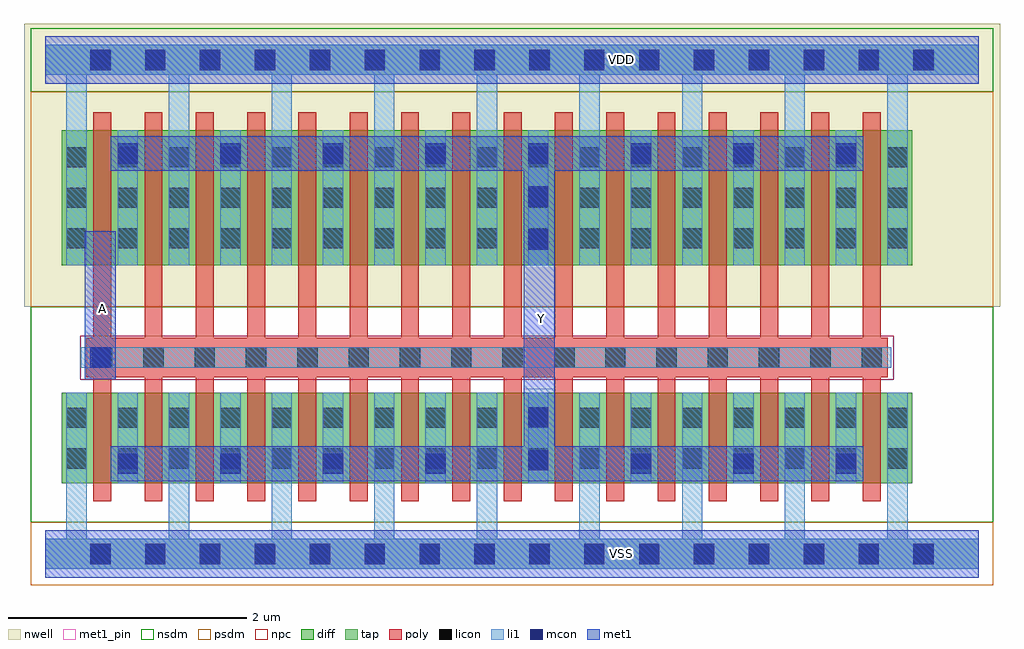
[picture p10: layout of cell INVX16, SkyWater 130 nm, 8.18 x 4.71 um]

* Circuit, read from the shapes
.subckt INVX16 A VDD VSS Y
XM1 Y A VSS VSS sky130_fd_pr__nfet_01v8 w=0.76 l=0.15 m=16
XM2 Y A VDD VDD sky130_fd_pr__pfet_01v8 w=1.13 l=0.15 m=16
.ends

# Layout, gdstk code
import gdstk
lib = gdstk.Library(unit=1e-6, precision=1e-09)
def R(c, l, rs):  # rectangles x0, y0, x1, y1
    for r in rs: c.add(gdstk.rectangle(r[:2], r[2:], *l))
def A(c, l, x, y, w, h, nx, ny, dx, dy):  # array of equal rectangles
    R(c, l, [(x+i*dx, y+j*dy, x+i*dx+w, y+j*dy+h) for i in range(nx) for j in range(ny)])
nwell = (64, 20)
diff = (65, 20)
tap = (65, 44)
poly = (66, 20)
licon = (66, 44)
li1 = (67, 20)
mcon = (67, 44)
met1_pin = (68, 16)
met1 = (68, 20)
nsdm = (93, 44)
psdm = (94, 20)
npc = (95, 20)

pyl1con_c_cdns_750710154 = lib.new_cell('PYL1CON_C_CDNS_750710154092')
R(pyl1con_c_cdns_750710154, poly, [(-0.135,-0.165,0.135,0.165)])
R(pyl1con_c_cdns_750710154, licon, [(-0.085,-0.085,0.085,0.085)])
R(pyl1con_c_cdns_750710154, npc, [(-0.185,-0.185,0.185,0.185)])

l1m1_c_cdns_750710154090 = lib.new_cell('L1M1_C_CDNS_750710154090')
R(l1m1_c_cdns_750710154090, li1, [(-0.165,-0.085,0.165,0.085)])
R(l1m1_c_cdns_750710154090, mcon, [(-0.085,-0.085,0.085,0.085)])
R(l1m1_c_cdns_750710154090, met1, [(-0.115,-0.145,0.115,0.145)])

l1m1_c_cdns_750710154091 = lib.new_cell('L1M1_C_CDNS_750710154091')
R(l1m1_c_cdns_750710154091, li1, [(-0.085,-0.165,0.085,0.165)])
R(l1m1_c_cdns_750710154091, mcon, [(-0.085,-0.085,0.085,0.085)])
R(l1m1_c_cdns_750710154091, met1, [(-0.115,-0.145,0.115,0.145)])

l1m1_c_cdns_750710154098 = lib.new_cell('L1M1_C_CDNS_750710154098')
R(l1m1_c_cdns_750710154098, li1, [(-0.085,-0.525,0.085,0.525)])
A(l1m1_c_cdns_750710154098, mcon, -0.085, -0.445, 0.17, 0.17, 1, 3, 0, 0.36)
R(l1m1_c_cdns_750710154098, met1, [(-0.115,-0.505,0.115,0.505)])

l1m1_c_cdns_750710154094 = lib.new_cell('L1M1_C_CDNS_750710154094')
R(l1m1_c_cdns_750710154094, li1, [(-0.085,-0.345,0.085,0.345)])
R(l1m1_c_cdns_750710154094, mcon, [(-0.085,-0.265,0.085,-0.095), (-0.085,0.095,0.085,0.265)])
R(l1m1_c_cdns_750710154094, met1, [(-0.115,-0.325,0.115,0.325)])

invx16 = lib.new_cell('INVX16')
R(invx16, nwell, [(-0.18,2.07,8,4.305), (-0.045,2.24,7.445,3.73), (-0.18,3.875,8,4.445)])
A(invx16, diff, 0.4, 0.59, 0.15, 0.76, 16, 1, 0.43, 0)
A(invx16, diff, 0.55, 0.59, 0.28, 0.76, 15, 1, 0.43, 0)
A(invx16, diff, 0.4, 2.42, 0.15, 1.13, 16, 1, 0.43, 0)
A(invx16, diff, 0.55, 2.42, 0.28, 1.13, 15, 1, 0.43, 0)
R(invx16, diff, [(0.135,0.59,0.4,1.35), (7,0.59,7.265,1.35), (0.135,2.42,0.4,3.55), (7,2.42,7.265,3.55)])
A(invx16, poly, 0.4, 0.44, 0.15, 0.055, 16, 2, 0.43, 1.005)
A(invx16, poly, 0.4, 0.495, 0.15, 0.095, 16, 2, 0.43, 0.855)
A(invx16, poly, 0.4, 0.59, 0.15, 0.76, 16, 1, 0.43, 0)
A(invx16, poly, 0.4, 2.27, 0.15, 0.055, 16, 2, 0.43, 1.375)
A(invx16, poly, 0.4, 2.325, 0.15, 0.095, 16, 2, 0.43, 1.225)
A(invx16, poly, 0.4, 2.42, 0.15, 1.13, 16, 1, 0.43, 0)
A(invx16, licon, 0.375, -0.085, 0.17, 0.17, 16, 2, 0.46, 4.14)
A(invx16, licon, 0.175, 0.715, 0.17, 0.17, 17, 2, 0.43, 0.34)
A(invx16, licon, 0.175, 2.56, 0.17, 0.17, 17, 3, 0.43, 0.34)
A(invx16, li1, 0.175, 0.59, 0.17, 0.76, 17, 1, 0.43, 0)
A(invx16, li1, 0.175, 2.42, 0.17, 1.13, 17, 1, 0.43, 0)
A(invx16, mcon, 0.375, -0.085, 0.17, 0.17, 16, 2, 0.46, 4.14)
R(invx16, met1_pin, [(4.01,1.38,4.27,2.62), (0.33,1.465,0.59,2.705)])
R(invx16, nsdm, [(-0.125,0.265,7.945,2.07), (-0.005,0.46,7.405,1.48), (-0.125,3.875,7.945,4.405), (-0.125,3.93,7.945,4.35)])
R(invx16, psdm, [(-0.125,-0.265,7.945,0.265), (-0.125,-0.21,7.945,0.21), (-0.125,2.07,7.945,3.875), (-0.005,2.29,7.405,3.68)])
R(invx16, npc, [(0.29,1.46,7.11,1.83)])
invx16.add(gdstk.FlexPath([(1.765,2.27),(1.765,1.5)], 0.15, ends="flush", simple_path=True, layer=66, datatype=20))  # poly
invx16.add(gdstk.FlexPath([(1.335,2.27),(1.335,1.5)], 0.15, ends="flush", simple_path=True, layer=66, datatype=20))  # poly
invx16.add(gdstk.FlexPath([(0.905,2.27),(0.905,1.5)], 0.15, ends="flush", simple_path=True, layer=66, datatype=20))  # poly
invx16.add(gdstk.FlexPath([(0.475,2.27),(0.475,1.5)], 0.15, ends="flush", simple_path=True, layer=66, datatype=20))  # poly
invx16.add(gdstk.FlexPath([(2.195,2.27),(2.195,1.5)], 0.15, ends="flush", simple_path=True, layer=66, datatype=20))  # poly
invx16.add(gdstk.FlexPath([(2.625,2.27),(2.625,1.5)], 0.15, ends="flush", simple_path=True, layer=66, datatype=20))  # poly
invx16.add(gdstk.FlexPath([(3.485,2.27),(3.485,1.5)], 0.15, ends="flush", simple_path=True, layer=66, datatype=20))  # poly
invx16.add(gdstk.FlexPath([(4.345,2.27),(4.345,1.5)], 0.15, ends="flush", simple_path=True, layer=66, datatype=20))  # poly
invx16.add(gdstk.FlexPath([(5.205,2.27),(5.205,1.5)], 0.15, ends="flush", simple_path=True, layer=66, datatype=20))  # poly
invx16.add(gdstk.FlexPath([(6.065,2.27),(6.065,1.5)], 0.15, ends="flush", simple_path=True, layer=66, datatype=20))  # poly
invx16.add(gdstk.FlexPath([(6.925,2.27),(6.925,1.5)], 0.15, ends="flush", simple_path=True, layer=66, datatype=20))  # poly
invx16.add(gdstk.FlexPath([(0.475,1.645),(7.06,1.645)], 0.33, ends="flush", simple_path=True, layer=66, datatype=20))  # poly
invx16.add(gdstk.FlexPath([(3.055,2.27),(3.055,1.5)], 0.15, ends="flush", simple_path=True, layer=66, datatype=20))  # poly
invx16.add(gdstk.FlexPath([(3.915,2.27),(3.915,1.5)], 0.15, ends="flush", simple_path=True, layer=66, datatype=20))  # poly
invx16.add(gdstk.FlexPath([(4.775,2.27),(4.775,1.5)], 0.15, ends="flush", simple_path=True, layer=66, datatype=20))  # poly
invx16.add(gdstk.FlexPath([(5.635,2.27),(5.635,1.5)], 0.15, ends="flush", simple_path=True, layer=66, datatype=20))  # poly
invx16.add(gdstk.FlexPath([(6.495,2.27),(6.495,1.5)], 0.15, ends="flush", simple_path=True, layer=66, datatype=20))  # poly
invx16.add(gdstk.FlexPath([(7.14,4.14),(7.82,4.14)], 0.25, ends=(0.085, 0), simple_path=True, layer=67, datatype=20))  # li1
invx16.add(gdstk.FlexPath([(6.28,4.14),(7.14,4.14)], 0.25, ends=(0.085, 0.085), simple_path=True, layer=67, datatype=20))  # li1
invx16.add(gdstk.FlexPath([(5.42,4.14),(6.28,4.14)], 0.25, ends=(0.085, 0.085), simple_path=True, layer=67, datatype=20))  # li1
invx16.add(gdstk.FlexPath([(4.56,4.14),(5.42,4.14)], 0.25, ends=(0.085, 0.085), simple_path=True, layer=67, datatype=20))  # li1
invx16.add(gdstk.FlexPath([(3.7,4.14),(4.56,4.14)], 0.25, ends=(0.085, 0.085), simple_path=True, layer=67, datatype=20))  # li1
invx16.add(gdstk.FlexPath([(2.84,4.14),(3.7,4.14)], 0.25, ends=(0.085, 0.085), simple_path=True, layer=67, datatype=20))  # li1
invx16.add(gdstk.FlexPath([(1.98,4.14),(2.84,4.14)], 0.25, ends=(0.085, 0.085), simple_path=True, layer=67, datatype=20))  # li1
invx16.add(gdstk.FlexPath([(1.12,4.14),(1.98,4.14)], 0.25, ends=(0.085, 0.085), simple_path=True, layer=67, datatype=20))  # li1
invx16.add(gdstk.FlexPath([(0.26,4.14),(1.12,4.14)], 0.25, ends=(0.085, 0.085), simple_path=True, layer=67, datatype=20))  # li1
invx16.add(gdstk.FlexPath([(7.14,0),(7.82,0)], 0.25, ends=(0.085, 0), simple_path=True, layer=67, datatype=20))  # li1
invx16.add(gdstk.FlexPath([(6.28,0),(7.14,0)], 0.25, ends=(0.085, 0.085), simple_path=True, layer=67, datatype=20))  # li1
invx16.add(gdstk.FlexPath([(5.42,0),(6.28,0)], 0.25, ends=(0.085, 0.085), simple_path=True, layer=67, datatype=20))  # li1
invx16.add(gdstk.FlexPath([(4.56,0),(5.42,0)], 0.25, ends=(0.085, 0.085), simple_path=True, layer=67, datatype=20))  # li1
invx16.add(gdstk.FlexPath([(3.7,0),(4.56,0)], 0.25, ends=(0.085, 0.085), simple_path=True, layer=67, datatype=20))  # li1
invx16.add(gdstk.FlexPath([(2.84,0),(3.7,0)], 0.25, ends=(0.085, 0.085), simple_path=True, layer=67, datatype=20))  # li1
invx16.add(gdstk.FlexPath([(1.98,0),(2.84,0)], 0.25, ends=(0.085, 0.085), simple_path=True, layer=67, datatype=20))  # li1
invx16.add(gdstk.FlexPath([(1.12,0),(1.98,0)], 0.25, ends=(0.085, 0.085), simple_path=True, layer=67, datatype=20))  # li1
invx16.add(gdstk.FlexPath([(0,0),(0.26,0)], 0.25, ends=(0, 0.085), simple_path=True, layer=67, datatype=20))  # li1
invx16.add(gdstk.FlexPath([(0,4.14),(0.26,4.14)], 0.25, ends=(0, 0.085), simple_path=True, layer=67, datatype=20))  # li1
invx16.add(gdstk.FlexPath([(0.26,0),(1.12,0)], 0.25, ends=(0.085, 0.085), simple_path=True, layer=67, datatype=20))  # li1
invx16.add(gdstk.FlexPath([(7.09,1.645),(0.31,1.645)], 0.17, ends="flush", simple_path=True, layer=67, datatype=20))  # li1
invx16.add(gdstk.FlexPath([(0.69,1.17),(0.69,1.285)], 0.17, ends="flush", simple_path=True, layer=67, datatype=20))  # li1
invx16.add(gdstk.FlexPath([(0.69,2.76),(0.69,2.645)], 0.17, ends="flush", simple_path=True, layer=67, datatype=20))  # li1
invx16.add(gdstk.FlexPath([(7.14,0),(7.095,0)], 0.17, ends=(0.085, 0), simple_path=True, layer=67, datatype=20))  # li1
invx16.add(gdstk.FlexPath([(7.14,0.59),(7.14,0)], 0.17, ends=(0, 0.125), simple_path=True, layer=67, datatype=20))  # li1
invx16.add(gdstk.FlexPath([(6.28,0),(6.235,0)], 0.17, ends=(0.085, 0), simple_path=True, layer=67, datatype=20))  # li1
invx16.add(gdstk.FlexPath([(6.28,0.59),(6.28,0)], 0.17, ends=(0, 0.125), simple_path=True, layer=67, datatype=20))  # li1
invx16.add(gdstk.FlexPath([(5.42,0),(5.375,0)], 0.17, ends=(0.085, 0), simple_path=True, layer=67, datatype=20))  # li1
invx16.add(gdstk.FlexPath([(5.42,0.59),(5.42,0)], 0.17, ends=(0, 0.125), simple_path=True, layer=67, datatype=20))  # li1
invx16.add(gdstk.FlexPath([(4.56,0),(4.515,0)], 0.17, ends=(0.085, 0), simple_path=True, layer=67, datatype=20))  # li1
invx16.add(gdstk.FlexPath([(4.56,0.59),(4.56,0)], 0.17, ends=(0, 0.125), simple_path=True, layer=67, datatype=20))  # li1
invx16.add(gdstk.FlexPath([(3.7,0),(3.655,0)], 0.17, ends=(0.085, 0), simple_path=True, layer=67, datatype=20))  # li1
invx16.add(gdstk.FlexPath([(3.7,0.59),(3.7,0)], 0.17, ends=(0, 0.125), simple_path=True, layer=67, datatype=20))  # li1
invx16.add(gdstk.FlexPath([(2.84,0),(2.795,0)], 0.17, ends=(0.085, 0), simple_path=True, layer=67, datatype=20))  # li1
invx16.add(gdstk.FlexPath([(2.84,0.59),(2.84,0)], 0.17, ends=(0, 0.125), simple_path=True, layer=67, datatype=20))  # li1
invx16.add(gdstk.FlexPath([(1.98,0),(1.935,0)], 0.17, ends=(0.085, 0), simple_path=True, layer=67, datatype=20))  # li1
invx16.add(gdstk.FlexPath([(1.98,0.59),(1.98,0)], 0.17, ends=(0, 0.125), simple_path=True, layer=67, datatype=20))  # li1
invx16.add(gdstk.FlexPath([(1.12,0),(1.075,0)], 0.17, ends=(0.085, 0), simple_path=True, layer=67, datatype=20))  # li1
invx16.add(gdstk.FlexPath([(1.12,0.59),(1.12,0)], 0.17, ends=(0, 0.125), simple_path=True, layer=67, datatype=20))  # li1
invx16.add(gdstk.FlexPath([(0.26,0),(0.215,0)], 0.17, ends=(0.085, 0), simple_path=True, layer=67, datatype=20))  # li1
invx16.add(gdstk.FlexPath([(0.26,0.59),(0.26,0)], 0.17, ends=(0, 0.125), simple_path=True, layer=67, datatype=20))  # li1
invx16.add(gdstk.FlexPath([(7.14,4.14),(7.095,4.14)], 0.17, ends=(0.085, 0), simple_path=True, layer=67, datatype=20))  # li1
invx16.add(gdstk.FlexPath([(7.14,3.55),(7.14,4.14)], 0.17, ends=(0, 0.125), simple_path=True, layer=67, datatype=20))  # li1
invx16.add(gdstk.FlexPath([(6.28,4.14),(6.235,4.14)], 0.17, ends=(0.085, 0), simple_path=True, layer=67, datatype=20))  # li1
invx16.add(gdstk.FlexPath([(6.28,3.55),(6.28,4.14)], 0.17, ends=(0, 0.125), simple_path=True, layer=67, datatype=20))  # li1
invx16.add(gdstk.FlexPath([(5.42,4.14),(5.375,4.14)], 0.17, ends=(0.085, 0), simple_path=True, layer=67, datatype=20))  # li1
invx16.add(gdstk.FlexPath([(5.42,3.55),(5.42,4.14)], 0.17, ends=(0, 0.125), simple_path=True, layer=67, datatype=20))  # li1
invx16.add(gdstk.FlexPath([(4.56,4.14),(4.515,4.14)], 0.17, ends=(0.085, 0), simple_path=True, layer=67, datatype=20))  # li1
invx16.add(gdstk.FlexPath([(4.56,3.55),(4.56,4.14)], 0.17, ends=(0, 0.125), simple_path=True, layer=67, datatype=20))  # li1
invx16.add(gdstk.FlexPath([(3.7,4.14),(3.655,4.14)], 0.17, ends=(0.085, 0), simple_path=True, layer=67, datatype=20))  # li1
invx16.add(gdstk.FlexPath([(3.7,3.55),(3.7,4.14)], 0.17, ends=(0, 0.125), simple_path=True, layer=67, datatype=20))  # li1
invx16.add(gdstk.FlexPath([(2.84,4.14),(2.795,4.14)], 0.17, ends=(0.085, 0), simple_path=True, layer=67, datatype=20))  # li1
invx16.add(gdstk.FlexPath([(2.84,3.55),(2.84,4.14)], 0.17, ends=(0, 0.125), simple_path=True, layer=67, datatype=20))  # li1
invx16.add(gdstk.FlexPath([(1.98,4.14),(1.935,4.14)], 0.17, ends=(0.085, 0), simple_path=True, layer=67, datatype=20))  # li1
invx16.add(gdstk.FlexPath([(1.98,3.55),(1.98,4.14)], 0.17, ends=(0, 0.125), simple_path=True, layer=67, datatype=20))  # li1
invx16.add(gdstk.FlexPath([(1.12,4.14),(1.075,4.14)], 0.17, ends=(0.085, 0), simple_path=True, layer=67, datatype=20))  # li1
invx16.add(gdstk.FlexPath([(1.12,3.55),(1.12,4.14)], 0.17, ends=(0, 0.125), simple_path=True, layer=67, datatype=20))  # li1
invx16.add(gdstk.FlexPath([(0.26,4.14),(0.215,4.14)], 0.17, ends=(0.085, 0), simple_path=True, layer=67, datatype=20))  # li1
invx16.add(gdstk.FlexPath([(0.26,3.55),(0.26,4.14)], 0.17, ends=(0, 0.125), simple_path=True, layer=67, datatype=20))  # li1
invx16.add(gdstk.FlexPath([(0,0),(7.82,0)], 0.25, ends="flush", simple_path=True, layer=65, datatype=44))  # tap
invx16.add(gdstk.FlexPath([(0,4.14),(7.82,4.14)], 0.25, ends="flush", simple_path=True, layer=65, datatype=44))  # tap
invx16.add(gdstk.FlexPath([(0,4.14),(7.82,4.14)], 0.4, ends="flush", simple_path=True, layer=68, datatype=20))  # met1
invx16.add(gdstk.FlexPath([(0.69,3.355),(1.55,3.355)], 0.29, ends="extended", simple_path=True, layer=68, datatype=20))  # met1
invx16.add(gdstk.FlexPath([(0.575,0.755),(0.69,0.755)], 0.29, ends=(0, 0.145), simple_path=True, layer=68, datatype=20))  # met1
invx16.add(gdstk.FlexPath([(4.13,0.755),(4.99,0.755)], 0.29, ends="extended", simple_path=True, layer=68, datatype=20))  # met1
invx16.add(gdstk.FlexPath([(6.71,0.755),(6.825,0.755)], 0.29, ends=(0.145, 0), simple_path=True, layer=68, datatype=20))  # met1
invx16.add(gdstk.FlexPath([(5.85,0.755),(6.71,0.755)], 0.29, ends="extended", simple_path=True, layer=68, datatype=20))  # met1
invx16.add(gdstk.FlexPath([(6.71,3.355),(6.825,3.355)], 0.29, ends=(0.145, 0), simple_path=True, layer=68, datatype=20))  # met1
invx16.add(gdstk.FlexPath([(5.85,3.355),(6.71,3.355)], 0.29, ends="extended", simple_path=True, layer=68, datatype=20))  # met1
invx16.add(gdstk.FlexPath([(4.99,3.355),(5.85,3.355)], 0.29, ends="extended", simple_path=True, layer=68, datatype=20))  # met1
invx16.add(gdstk.FlexPath([(4.13,3.355),(4.99,3.355)], 0.29, ends="extended", simple_path=True, layer=68, datatype=20))  # met1
invx16.add(gdstk.FlexPath([(0.46,1.465),(0.46,2.705)], 0.26, ends="flush", simple_path=True, layer=68, datatype=20))  # met1
invx16.add(gdstk.FlexPath([(0,0),(7.82,0)], 0.4, ends="flush", simple_path=True, layer=68, datatype=20))  # met1
invx16.add(gdstk.FlexPath([(3.27,3.355),(4.13,3.355)], 0.29, ends="extended", simple_path=True, layer=68, datatype=20))  # met1
invx16.add(gdstk.FlexPath([(3.27,0.755),(4.13,0.755)], 0.29, ends="extended", simple_path=True, layer=68, datatype=20))  # met1
invx16.add(gdstk.FlexPath([(4.99,0.755),(5.85,0.755)], 0.29, ends="extended", simple_path=True, layer=68, datatype=20))  # met1
invx16.add(gdstk.FlexPath([(4.14,0.61),(4.14,3.5)], 0.26, ends="flush", simple_path=True, layer=68, datatype=20))  # met1
invx16.add(gdstk.FlexPath([(0.575,3.355),(0.69,3.355)], 0.29, ends=(0, 0.145), simple_path=True, layer=68, datatype=20))  # met1
invx16.add(gdstk.FlexPath([(1.55,3.355),(2.41,3.355)], 0.29, ends="extended", simple_path=True, layer=68, datatype=20))  # met1
invx16.add(gdstk.FlexPath([(2.41,0.755),(3.27,0.755)], 0.29, ends="extended", simple_path=True, layer=68, datatype=20))  # met1
invx16.add(gdstk.FlexPath([(0.69,0.755),(1.55,0.755)], 0.29, ends="extended", simple_path=True, layer=68, datatype=20))  # met1
invx16.add(gdstk.FlexPath([(1.55,0.755),(2.41,0.755)], 0.29, ends="extended", simple_path=True, layer=68, datatype=20))  # met1
invx16.add(gdstk.FlexPath([(2.41,3.355),(3.27,3.355)], 0.29, ends="extended", simple_path=True, layer=68, datatype=20))  # met1
invx16.add(gdstk.FlexPath([(0,4.14),(7.82,4.14)], 0.4, ends="flush", simple_path=True, layer=68, datatype=16))  # met1_pin
invx16.add(gdstk.FlexPath([(0,0),(7.82,0)], 0.4, ends="flush", simple_path=True, layer=68, datatype=16))  # met1_pin
invx16.add(gdstk.Reference(pyl1con_c_cdns_750710154, (6.925,1.645), x_reflection=True))
invx16.add(gdstk.Reference(pyl1con_c_cdns_750710154, (6.495,1.645), x_reflection=True))
invx16.add(gdstk.Reference(pyl1con_c_cdns_750710154, (6.065,1.645), x_reflection=True))
invx16.add(gdstk.Reference(pyl1con_c_cdns_750710154, (5.635,1.645), x_reflection=True))
invx16.add(gdstk.Reference(pyl1con_c_cdns_750710154, (5.205,1.645), x_reflection=True))
invx16.add(gdstk.Reference(pyl1con_c_cdns_750710154, (4.775,1.645), x_reflection=True))
invx16.add(gdstk.Reference(pyl1con_c_cdns_750710154, (4.35,1.645), x_reflection=True))
invx16.add(gdstk.Reference(pyl1con_c_cdns_750710154, (3.915,1.645), x_reflection=True))
invx16.add(gdstk.Reference(pyl1con_c_cdns_750710154, (3.485,1.645), x_reflection=True))
invx16.add(gdstk.Reference(pyl1con_c_cdns_750710154, (3.055,1.645), x_reflection=True))
invx16.add(gdstk.Reference(pyl1con_c_cdns_750710154, (2.625,1.645), x_reflection=True))
invx16.add(gdstk.Reference(pyl1con_c_cdns_750710154, (2.195,1.645), x_reflection=True))
invx16.add(gdstk.Reference(pyl1con_c_cdns_750710154, (1.765,1.645), x_reflection=True))
invx16.add(gdstk.Reference(pyl1con_c_cdns_750710154, (1.335,1.645), x_reflection=True))
invx16.add(gdstk.Reference(pyl1con_c_cdns_750710154, (0.475,1.645), x_reflection=True))
invx16.add(gdstk.Reference(pyl1con_c_cdns_750710154, (0.905,1.645), x_reflection=True))
invx16.add(gdstk.Reference(l1m1_c_cdns_750710154090, (0.46,1.645), x_reflection=True))
invx16.add(gdstk.Reference(l1m1_c_cdns_750710154091, (6.71,3.355)))
invx16.add(gdstk.Reference(l1m1_c_cdns_750710154091, (0.69,3.355)))
invx16.add(gdstk.Reference(l1m1_c_cdns_750710154091, (1.55,0.755)))
invx16.add(gdstk.Reference(l1m1_c_cdns_750710154091, (0.69,0.755)))
invx16.add(gdstk.Reference(l1m1_c_cdns_750710154091, (6.71,0.755)))
invx16.add(gdstk.Reference(l1m1_c_cdns_750710154091, (5.85,0.755)))
invx16.add(gdstk.Reference(l1m1_c_cdns_750710154091, (4.99,0.755)))
invx16.add(gdstk.Reference(l1m1_c_cdns_750710154091, (3.27,0.755)))
invx16.add(gdstk.Reference(l1m1_c_cdns_750710154091, (2.41,0.755)))
invx16.add(gdstk.Reference(l1m1_c_cdns_750710154091, (1.55,3.355)))
invx16.add(gdstk.Reference(l1m1_c_cdns_750710154091, (2.41,3.355)))
invx16.add(gdstk.Reference(l1m1_c_cdns_750710154091, (3.27,3.355)))
invx16.add(gdstk.Reference(l1m1_c_cdns_750710154091, (4.99,3.355)))
invx16.add(gdstk.Reference(l1m1_c_cdns_750710154091, (5.85,3.355)))
invx16.add(gdstk.Reference(l1m1_c_cdns_750710154098, (4.13,2.995)))
invx16.add(gdstk.Reference(l1m1_c_cdns_750710154094, (4.13,0.965)))
invx16.add(gdstk.Label('VDD', (4.825,4.145), layer=68, texttype=5))
invx16.add(gdstk.Label('Y', (4.155,1.975), layer=68, texttype=5))
invx16.add(gdstk.Label('VSS', (4.825,0.005), layer=68, texttype=5))
invx16.add(gdstk.Label('A', (0.475,2.06), layer=68, texttype=5))

lib.write_gds('INVX16.gds')
